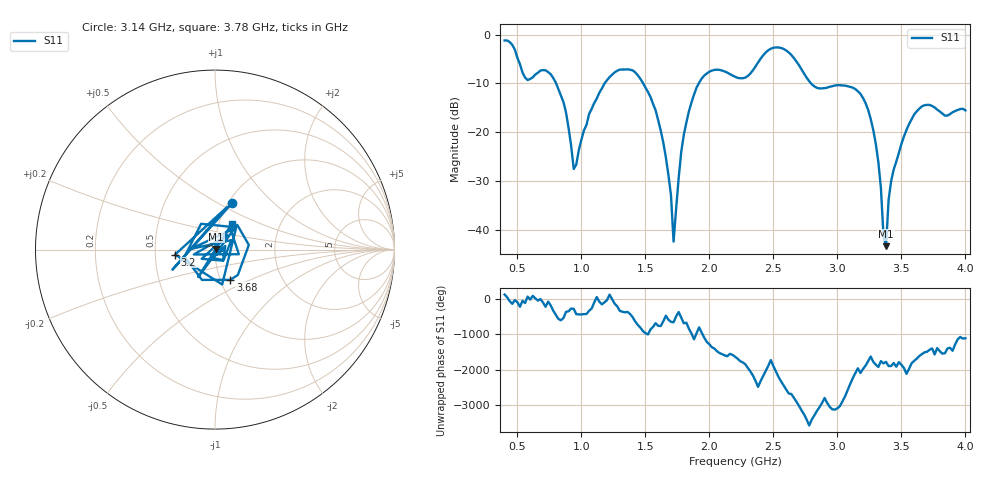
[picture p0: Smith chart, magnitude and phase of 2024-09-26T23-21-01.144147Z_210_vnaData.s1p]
!Created with skrf (http://scikit-rf.org).
# Hz S RI R 50.0
!freq ReS11 ImS11
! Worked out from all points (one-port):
!   181 points, 400 MHz to 4 GHz, reference 50 ohm
!   lowest |S11| = -43.4 dB at 3.38 GHz (marker M1), VSWR 1.01, Z = 50.6 + j0.322 ohm
!   |S11| at or under -10 dB: 802.5 MHz to 1.181 GHz (378.2 MHz wide, 38.1 % of centre); 1.483 GHz to 1.917 GHz (434.4 MHz wide, 25.6 % of centre); 2.794 GHz to end of sweep
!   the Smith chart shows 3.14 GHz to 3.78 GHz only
!   S11 on the Smith chart (normalised r, x): 3.14 GHz: 1.04, +0.59; 3.2 GHz: 0.64, -0.04; 3.68 GHz: 1.11, -0.39; 3.78 GHz: 1.15, +0.34
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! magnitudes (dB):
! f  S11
! 400 MHz  -1.2
! 560 MHz  -8.8
! 720 MHz  -7.3
! 860 MHz  -13.8
! 940 MHz  -27.6
! 1.06 GHz  -16.3
! 1.3 GHz  -7.2
! 1.58 GHz  -15.5
! 1.68 GHz  -28.8
! 1.72 GHz  -42.5
! 1.76 GHz  -29.4
! 1.82 GHz  -18.0
! 1.92 GHz  -9.9
! 2.2 GHz  -8.6
! 2.5 GHz  -2.7
! 2.66 GHz  -4.8
! 2.84 GHz  -10.9
! 3.1 GHz  -10.7
! 3.14 GHz  -11.2
! 3.2 GHz  -13.0
! 3.3 GHz  -22.4
! 3.36 GHz  -41.2
! 3.38 GHz  -43.4
! 3.42 GHz  -30.0
! 3.56 GHz  -18.3
! 3.68 GHz  -14.5
! 3.78 GHz  -15.4
! 4 GHz  -15.5
